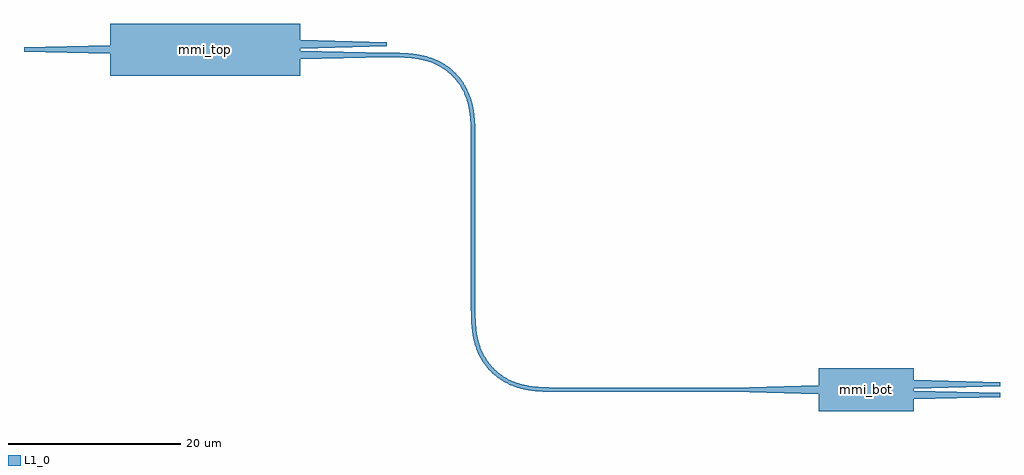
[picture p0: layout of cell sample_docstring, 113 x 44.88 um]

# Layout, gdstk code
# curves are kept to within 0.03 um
from math import pi, radians
import gdstk
lib = gdstk.Library(unit=1e-6, precision=1e-09)
def R(c, l, rs):  # rectangles x0, y0, x1, y1
    for r in rs: c.add(gdstk.rectangle(r[:2], r[2:], *l))
def P(c, l, *ps):  # polygons
    for p in ps: c.add(gdstk.Polygon(p, *l))
L1_0 = (1, 0)

bend_euler_rnone_a90_p0p = lib.new_cell('bend_euler_RNone_A90_P0p5_WAFTrue_NNone_LNone_WNone_Dccw_CSxs_34e31a19')
P(bend_euler_rnone_a90_p0p, L1_0, [(0,-0.25),(0,0.25),(1.655,0.269),(2.881,0.353),(3.952,0.52),(4.99,0.806),(5.731,1.113),(6.431,1.505),(7.079,1.976),(7.575,2.425),(8.024,2.921),(8.495,3.569),(8.887,4.269),(9.194,5.01),(9.48,6.048),(9.647,7.119),(9.731,8.345),(9.75,10),(10.25,10),(10.235,8.468),(10.158,7.205),(10.023,6.224),(9.797,5.254),(9.457,4.312),(9.066,3.545),(8.5,2.715),(7.928,2.072),(7.285,1.5),(6.455,0.934),(5.688,0.543),(4.746,0.203),(3.776,-0.023),(2.795,-0.158),(1.532,-0.235)])

straight_l18p75_n2_csxs_ = lib.new_cell('straight_L18p75_N2_CSxs_34e31a19_W0p5')
R(straight_l18p75_n2_csxs_, L1_0, [(0,-0.25,18.75,0.25)])

straight_l20_n2_csxs_34e = lib.new_cell('straight_L20_N2_CSxs_34e31a19_W0p5')
R(straight_l20_n2_csxs_34e, L1_0, [(0,-0.25,20,0.25)])

mmi1x2_wnone_wt1_lt10_lm = lib.new_cell('mmi1x2_WNone_WT1_LT10_LM22_WM6_GM0p25_Ttaper_Sstraight_CSxs_sc')
P(mmi1x2_wnone_wt1_lt10_lm, L1_0, [(0,-3),(0,-0.5),(-10,-0.25),(-10,0.25),(0,0.5),(0,3),(22,3),(22,1.125),(32,0.875),(32,0.375),(22,0.125),(22,-0.125),(32,-0.375),(32,-0.875),(22,-1.125),(22,-3)])

c_mmi1x2_wnone_wt1_lt10_lm = lib.new_cell('mmi1x2_WNone_WT1_LT10_LM11_WM5_GM0p25_Ttaper_Sstraight_CSxs_sc')
P(c_mmi1x2_wnone_wt1_lt10_lm, L1_0, [(0,-2.5),(0,-0.5),(-10,-0.25),(-10,0.25),(0,0.5),(0,2.5),(11,2.5),(11,1.125),(21,0.875),(21,0.375),(11,0.125),(11,-0.125),(21,-0.375),(21,-0.875),(11,-1.125),(11,-2.5)])

sample_docstring = lib.new_cell('sample_docstring')
sample_docstring.add(gdstk.Reference(bend_euler_rnone_a90_p0p, (52,-10.625), rotation=pi/2))
sample_docstring.add(gdstk.Reference(bend_euler_rnone_a90_p0p, (62,-39.375), rotation=pi, x_reflection=True))
sample_docstring.add(gdstk.Reference(straight_l18p75_n2_csxs_, (52,-29.375), rotation=pi/2, x_reflection=True))
sample_docstring.add(gdstk.Reference(straight_l20_n2_csxs_34e, (62,-39.375), x_reflection=True))
sample_docstring.add(gdstk.Reference(mmi1x2_wnone_wt1_lt10_lm, (10,0)))
sample_docstring.add(gdstk.Reference(c_mmi1x2_wnone_wt1_lt10_lm, (92,-39.375)))
sample_docstring.add(gdstk.Label('mmi_top', (21,0), layer=206, texttype=0))
sample_docstring.add(gdstk.Label('mmi_bot', (97.5,-39.375), layer=206, texttype=0))

lib.write_gds('sample_docstring.gds')
